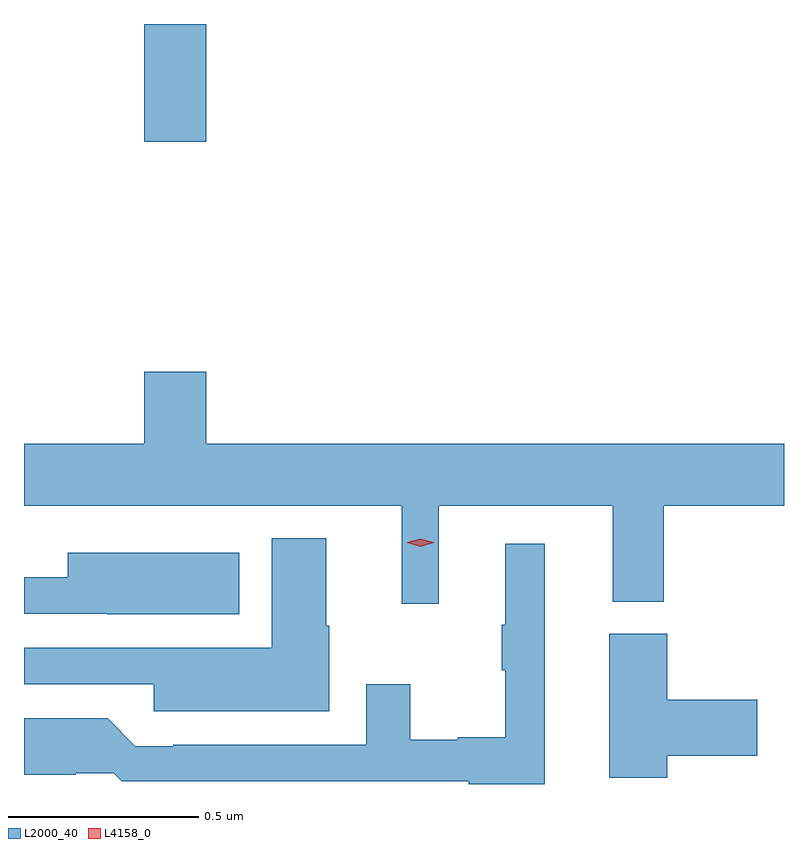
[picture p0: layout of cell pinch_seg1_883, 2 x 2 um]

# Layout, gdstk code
import gdstk
lib = gdstk.Library(unit=1e-6, precision=1e-09)
def R(c, l, rs):  # rectangles x0, y0, x1, y1
    for r in rs: c.add(gdstk.rectangle(r[:2], r[2:], *l))
def P(c, l, *ps):  # polygons
    for p in ps: c.add(gdstk.Polygon(p, *l))
L2000_40 = (2000, 40)
L4158_0 = (4158, 0)

pinch_seg1_883 = lib.new_cell('pinch_seg1_883')
R(pinch_seg1_883, L2000_40, [(464.708,530.046,464.872,530.356)])
P(pinch_seg1_883, L2000_40, [(465.484,529.088),(465.941,529.088),(465.941,528.836),(466.076,528.836),(466.076,529.088),(466.392,529.088),(466.392,529.252),(464.872,529.252),(464.872,529.441),(464.708,529.441),(464.708,529.252),(464.392,529.252),(464.392,529.088),(465.386,529.088),(465.386,528.831),(465.484,528.831)],
  [(465.195,528.773),(465.187,528.773),(465.187,529.003),(465.044,529.003),(465.044,528.715),(464.827,528.715),(464.827,528.714),(464.392,528.714),(464.392,528.618),(464.734,528.618),(464.734,528.548),(465.195,528.548)],
  [(465.763,528.988),(465.659,528.988),(465.659,528.775),(465.649,528.775),(465.649,528.656),(465.659,528.656),(465.659,528.479),(465.534,528.479),(465.534,528.472),(465.409,528.472),(465.409,528.619),(465.293,528.619),(465.293,528.459),(464.785,528.459),(464.785,528.456),(464.685,528.456),(464.612,528.529),(464.392,528.529),(464.392,528.38),(464.528,528.38),(464.528,528.384),(464.628,528.384),(464.649,528.363),(465.563,528.363),(465.563,528.356),(465.763,528.356)],
  [(464.959,528.964),(464.507,528.964),(464.507,528.9),(464.392,528.9),(464.392,528.804),(464.611,528.804),(464.611,528.803),(464.959,528.803)],
  [(466.085,528.431),(466.321,528.431),(466.321,528.578),(466.085,528.578),(466.085,528.751),(465.932,528.751),(465.932,528.372),(466.085,528.372)])
P(pinch_seg1_883, L4158_0, [(465.435,528.981),(465.4,528.991),(465.4,528.991),(465.4,528.992),(465.435,529.002),(465.47,528.992),(465.47,528.991),(465.47,528.991)])

lib.write_gds('pinch_seg1_883.gds')
